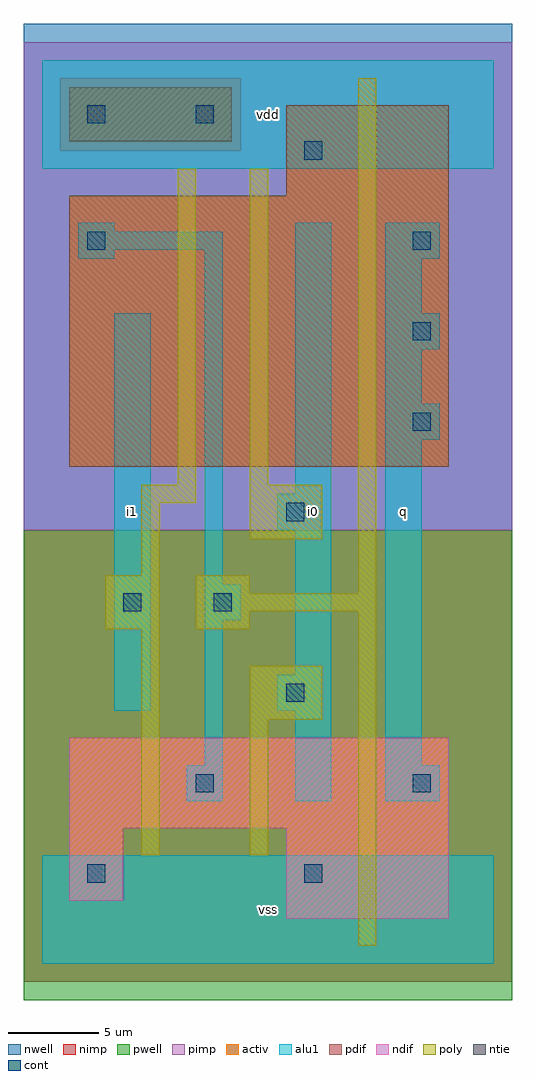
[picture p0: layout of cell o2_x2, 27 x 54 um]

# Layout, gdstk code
import gdstk
lib = gdstk.Library(unit=1e-6, precision=1e-09)
def R(c, l, rs):  # rectangles x0, y0, x1, y1
    for r in rs: c.add(gdstk.rectangle(r[:2], r[2:], *l))
def A(c, l, x, y, w, h, nx, ny, dx, dy):  # array of equal rectangles
    R(c, l, [(x+i*dx, y+j*dy, x+i*dx+w, y+j*dy+h) for i in range(nx) for j in range(ny)])
ndif = (3, 0)
pdif = (4, 0)
ntie = (5, 0)
cont = (25, 0)
pwell = (41, 0)
nwell = (42, 0)
activ = (43, 0)
pimp = (44, 0)
nimp = (45, 0)
poly = (46, 0)
alu1 = (49, 0)

o2_x2 = lib.new_cell('o2_x2')
R(o2_x2, ndif, [(13.5,2.5,22.5,7.5), (1.5,3.5,4.5,7.5), (1.5,7.5,22.5,12.5)])
R(o2_x2, pdif, [(1.5,27.5,22.5,42.5), (13.5,42.5,22.5,47.5)])
R(o2_x2, ntie, [(1.5,45.5,10.5,48.5)])
A(o2_x2, cont, 20.5, 29.5, 1, 1, 1, 3, 0, 5)
R(o2_x2, cont, [(2.5,4.5,3.5,5.5), (14.5,4.5,15.5,5.5), (8.5,9.5,9.5,10.5), (20.5,9.5,21.5,10.5), (13.5,14.5,14.5,15.5), (4.5,19.5,5.5,20.5), (9.5,19.5,10.5,20.5), (13.5,24.5,14.5,25.5), (2.5,39.5,3.5,40.5), (14.5,44.5,15.5,45.5), (2.5,46.5,3.5,47.5), (8.5,46.5,9.5,47.5)])
R(o2_x2, pwell, [(-1,-2,26,24)])
R(o2_x2, nwell, [(-1,24,26,52)])
R(o2_x2, activ, [(13.5,2.5,22.5,7.5), (1.5,3.5,4.5,7.5), (1.5,7.5,22.5,12.5), (1.5,27.5,22.5,42.5), (13.5,42.5,22.5,47.5), (1.5,45.5,10.5,48.5)])
R(o2_x2, pimp, [(-1,24,26,45), (-1,45,1,49), (11,45,26,49), (-1,49,26,51)])
R(o2_x2, nimp, [(-1,-1,26,24), (1,45,11,49)])
R(o2_x2, poly, [(17.5,1,18.5,19.5), (5.5,6,6.5,18.5), (11.5,6,12.5,13.5), (11.5,13.5,15.5,16.5), (3.5,18.5,6.5,21.5), (8.5,18.5,11.5,19.5), (8.5,19.5,18.5,20.5), (8.5,20.5,11.5,21.5), (17.5,20.5,18.5,49), (5.5,21.5,6.5,25.5), (11.5,23.5,15.5,26.5), (5.5,25.5,8.5,26.5), (7.5,26.5,8.5,44), (11.5,26.5,12.5,44)])
A(o2_x2, alu1, 19, 29, 3, 2, 1, 3, 0, 5)
R(o2_x2, alu1, [(0,0,25,6), (8,9,10,11), (14,9,16,14), (19,9,22,11), (9,11,10,19), (19,11,21,29), (4,14,6,36), (13,14,16,16), (14,16,16,24), (9,19,11,21), (9,21,10,39.5), (13,24,16,26), (14,26,16,41), (19,31,21,34), (19,36,21,39), (2,39,4,39.5), (2,39.5,10,40.5), (2,40.5,4,41), (0,44,25,50)])
o2_x2.add(gdstk.Label('i1', (5,25), layer=49, texttype=0))
o2_x2.add(gdstk.Label('vss', (12.5,3), layer=49, texttype=0))
o2_x2.add(gdstk.Label('i0', (15,25), layer=49, texttype=0))
o2_x2.add(gdstk.Label('vdd', (12.5,47), layer=49, texttype=0))
o2_x2.add(gdstk.Label('q', (20,25), layer=49, texttype=0))

lib.write_gds('o2_x2.gds')
